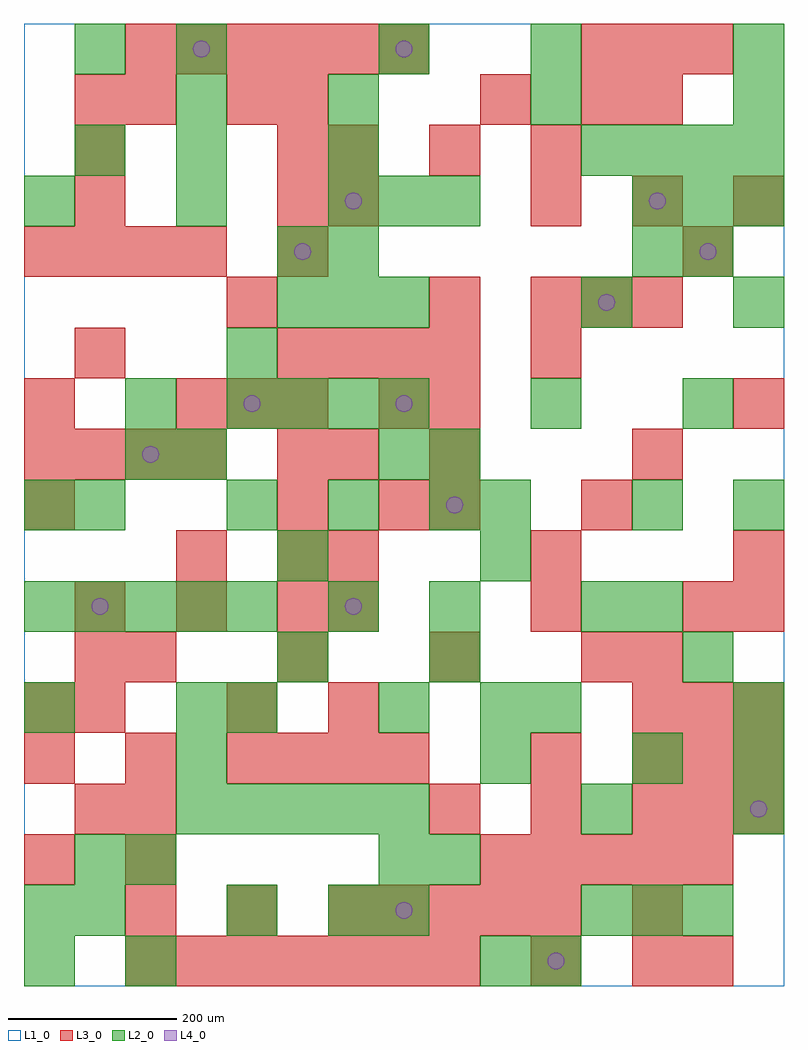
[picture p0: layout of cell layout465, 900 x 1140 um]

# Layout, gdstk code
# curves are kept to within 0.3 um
import gdstk
lib = gdstk.Library(unit=1e-6, precision=1e-09)
def R(c, l, rs):  # rectangles x0, y0, x1, y1
    for r in rs: c.add(gdstk.rectangle(r[:2], r[2:], *l))
def A(c, l, x, y, w, h, nx, ny, dx, dy):  # array of equal rectangles
    R(c, l, [(x+i*dx, y+j*dy, x+i*dx+w, y+j*dy+h) for i in range(nx) for j in range(ny)])
def P(c, l, *ps):  # polygons
    for p in ps: c.add(gdstk.Polygon(p, *l))
L1_0 = (1, 0)
L2_0 = (2, 0)
L3_0 = (3, 0)
L4_0 = (4, 0)

layout465 = lib.new_cell('layout465')
R(layout465, L1_0, [(0,0,900,1140)])
A(layout465, L2_0, 0, 60, 60, 60, 1, 3, 0, 240)
A(layout465, L2_0, 660, 60, 60, 60, 3, 1, 60, 0)
A(layout465, L2_0, 60, 120, 60, 60, 1, 3, 0, 420)
A(layout465, L2_0, 180, 180, 60, 60, 5, 1, 60, 0)
A(layout465, L2_0, 840, 180, 60, 60, 1, 3, 0, 60)
A(layout465, L2_0, 420, 300, 60, 60, 1, 3, 0, 300)
A(layout465, L2_0, 0, 420, 60, 60, 5, 1, 60, 0)
A(layout465, L2_0, 240, 540, 60, 60, 3, 1, 120, 0)
A(layout465, L2_0, 240, 660, 60, 60, 4, 1, 60, 0)
A(layout465, L2_0, 300, 780, 60, 60, 3, 1, 60, 0)
A(layout465, L2_0, 0, 900, 60, 60, 3, 1, 180, 0)
A(layout465, L2_0, 720, 900, 60, 60, 3, 1, 60, 0)
A(layout465, L2_0, 180, 960, 60, 60, 1, 3, 0, 60)
A(layout465, L2_0, 660, 960, 60, 60, 4, 1, 60, 0)
A(layout465, L2_0, 360, 1020, 60, 60, 3, 1, 240, 0)
R(layout465, L2_0, [(0,0,60,60), (120,0,180,60), (540,0,600,60), (600,0,660,60), (60,60,120,120), (240,60,300,120), (360,60,420,120), (420,60,480,120), (120,120,180,180), (420,120,480,180), (480,120,540,180), (660,180,720,240), (180,240,240,300), (540,240,600,300), (720,240,780,300), (180,300,240,360), (240,300,300,360), (540,300,600,360), (600,300,660,360), (300,360,360,420), (480,360,540,420), (780,360,840,420), (360,420,420,480), (480,420,540,480), (660,420,720,480), (720,420,780,480), (300,480,360,540), (540,480,600,540), (540,540,600,600), (720,540,780,600), (840,540,900,600), (120,600,180,660), (180,600,240,660), (480,600,540,660), (120,660,180,720), (600,660,660,720), (780,660,840,720), (240,720,300,780), (660,780,720,840), (840,780,900,840), (300,840,360,900), (360,840,420,900), (720,840,780,900), (780,840,840,900), (480,900,540,960), (360,960,420,1020), (60,1080,120,1140), (420,1080,480,1140), (600,1080,660,1140), (840,1080,900,1140)])
A(layout465, L3_0, 120, 0, 60, 60, 7, 1, 60, 0)
A(layout465, L3_0, 120, 60, 60, 60, 3, 1, 120, 0)
A(layout465, L3_0, 420, 60, 60, 60, 4, 1, 60, 0)
A(layout465, L3_0, 540, 120, 60, 60, 5, 1, 60, 0)
A(layout465, L3_0, 480, 180, 60, 60, 3, 1, 120, 0)
A(layout465, L3_0, 840, 180, 60, 60, 1, 3, 0, 240)
A(layout465, L3_0, 0, 240, 60, 60, 3, 1, 120, 0)
A(layout465, L3_0, 300, 240, 60, 60, 3, 1, 60, 0)
A(layout465, L3_0, 720, 240, 60, 60, 3, 2, 60, 60)
A(layout465, L3_0, 120, 360, 60, 60, 4, 1, 180, 0)
A(layout465, L3_0, 60, 420, 60, 60, 3, 1, 120, 0)
A(layout465, L3_0, 300, 480, 60, 60, 1, 3, 0, 60)
A(layout465, L3_0, 360, 480, 60, 60, 3, 1, 240, 0)
A(layout465, L3_0, 480, 540, 60, 60, 1, 3, 0, 60)
A(layout465, L3_0, 0, 600, 60, 60, 4, 2, 60, 240)
A(layout465, L3_0, 180, 660, 60, 60, 3, 1, 60, 0)
A(layout465, L3_0, 300, 720, 60, 60, 4, 1, 60, 0)
A(layout465, L3_0, 600, 780, 60, 60, 3, 1, 60, 0)
A(layout465, L3_0, 300, 840, 60, 60, 1, 4, 0, 60)
A(layout465, L3_0, 60, 900, 60, 60, 1, 3, 0, 60)
A(layout465, L3_0, 600, 900, 60, 60, 3, 1, 120, 0)
A(layout465, L3_0, 360, 960, 60, 60, 3, 1, 120, 0)
A(layout465, L3_0, 120, 1080, 60, 60, 6, 1, 60, 0)
A(layout465, L3_0, 660, 1080, 60, 60, 3, 1, 60, 0)
R(layout465, L3_0, [(600,0,660,60), (720,0,780,60), (780,0,840,60), (720,60,780,120), (0,120,60,180), (120,120,180,180), (60,180,120,240), (120,180,180,240), (780,180,840,240), (600,240,660,300), (0,300,60,360), (60,300,120,360), (240,300,300,360), (360,300,420,360), (60,360,120,420), (720,360,780,420), (360,420,420,480), (600,420,660,480), (780,420,840,480), (180,480,240,540), (0,540,60,600), (420,540,480,600), (660,540,720,600), (360,600,420,660), (720,600,780,660), (0,660,60,720), (420,660,480,720), (60,720,120,780), (600,720,660,780), (240,780,300,840), (480,780,540,840), (780,840,840,900), (360,900,420,960), (120,1020,180,1080), (240,1020,300,1080), (540,1020,600,1080), (660,1020,720,1080), (720,1020,780,1080)])
P(layout465, L4_0, [(100,450),(99.239,453.827),(97.071,457.071),(93.827,459.239),(90,460),(86.173,459.239),(82.929,457.071),(80.761,453.827),(80,450),(80.761,446.173),(82.929,442.929),(86.173,440.761),(90,440),(93.827,440.761),(97.071,442.929),(99.239,446.173)],
  [(160,630),(159.239,633.827),(157.071,637.071),(153.827,639.239),(150,640),(146.173,639.239),(142.929,637.071),(140.761,633.827),(140,630),(140.761,626.173),(142.929,622.929),(146.173,620.761),(150,620),(153.827,620.761),(157.071,622.929),(159.239,626.173)],
  [(220,1110),(219.239,1113.827),(217.071,1117.071),(213.827,1119.239),(210,1120),(206.173,1119.239),(202.929,1117.071),(200.761,1113.827),(200,1110),(200.761,1106.173),(202.929,1102.929),(206.173,1100.761),(210,1100),(213.827,1100.761),(217.071,1102.929),(219.239,1106.173)],
  [(280,690),(279.239,693.827),(277.071,697.071),(273.827,699.239),(270,700),(266.173,699.239),(262.929,697.071),(260.761,693.827),(260,690),(260.761,686.173),(262.929,682.929),(266.173,680.761),(270,680),(273.827,680.761),(277.071,682.929),(279.239,686.173)],
  [(340,870),(339.239,873.827),(337.071,877.071),(333.827,879.239),(330,880),(326.173,879.239),(322.929,877.071),(320.761,873.827),(320,870),(320.761,866.173),(322.929,862.929),(326.173,860.761),(330,860),(333.827,860.761),(337.071,862.929),(339.239,866.173)],
  [(400,450),(399.239,453.827),(397.071,457.071),(393.827,459.239),(390,460),(386.173,459.239),(382.929,457.071),(380.761,453.827),(380,450),(380.761,446.173),(382.929,442.929),(386.173,440.761),(390,440),(393.827,440.761),(397.071,442.929),(399.239,446.173)],
  [(400,930),(399.239,933.827),(397.071,937.071),(393.827,939.239),(390,940),(386.173,939.239),(382.929,937.071),(380.761,933.827),(380,930),(380.761,926.173),(382.929,922.929),(386.173,920.761),(390,920),(393.827,920.761),(397.071,922.929),(399.239,926.173)],
  [(460,90),(459.239,93.827),(457.071,97.071),(453.827,99.239),(450,100),(446.173,99.239),(442.929,97.071),(440.761,93.827),(440,90),(440.761,86.173),(442.929,82.929),(446.173,80.761),(450,80),(453.827,80.761),(457.071,82.929),(459.239,86.173)],
  [(460,690),(459.239,693.827),(457.071,697.071),(453.827,699.239),(450,700),(446.173,699.239),(442.929,697.071),(440.761,693.827),(440,690),(440.761,686.173),(442.929,682.929),(446.173,680.761),(450,680),(453.827,680.761),(457.071,682.929),(459.239,686.173)],
  [(460,1110),(459.239,1113.827),(457.071,1117.071),(453.827,1119.239),(450,1120),(446.173,1119.239),(442.929,1117.071),(440.761,1113.827),(440,1110),(440.761,1106.173),(442.929,1102.929),(446.173,1100.761),(450,1100),(453.827,1100.761),(457.071,1102.929),(459.239,1106.173)],
  [(520,570),(519.239,573.827),(517.071,577.071),(513.827,579.239),(510,580),(506.173,579.239),(502.929,577.071),(500.761,573.827),(500,570),(500.761,566.173),(502.929,562.929),(506.173,560.761),(510,560),(513.827,560.761),(517.071,562.929),(519.239,566.173)],
  [(640,30),(639.239,33.827),(637.071,37.071),(633.827,39.239),(630,40),(626.173,39.239),(622.929,37.071),(620.761,33.827),(620,30),(620.761,26.173),(622.929,22.929),(626.173,20.761),(630,20),(633.827,20.761),(637.071,22.929),(639.239,26.173)],
  [(700,810),(699.239,813.827),(697.071,817.071),(693.827,819.239),(690,820),(686.173,819.239),(682.929,817.071),(680.761,813.827),(680,810),(680.761,806.173),(682.929,802.929),(686.173,800.761),(690,800),(693.827,800.761),(697.071,802.929),(699.239,806.173)],
  [(760,930),(759.239,933.827),(757.071,937.071),(753.827,939.239),(750,940),(746.173,939.239),(742.929,937.071),(740.761,933.827),(740,930),(740.761,926.173),(742.929,922.929),(746.173,920.761),(750,920),(753.827,920.761),(757.071,922.929),(759.239,926.173)],
  [(820,870),(819.239,873.827),(817.071,877.071),(813.827,879.239),(810,880),(806.173,879.239),(802.929,877.071),(800.761,873.827),(800,870),(800.761,866.173),(802.929,862.929),(806.173,860.761),(810,860),(813.827,860.761),(817.071,862.929),(819.239,866.173)],
  [(880,210),(879.239,213.827),(877.071,217.071),(873.827,219.239),(870,220),(866.173,219.239),(862.929,217.071),(860.761,213.827),(860,210),(860.761,206.173),(862.929,202.929),(866.173,200.761),(870,200),(873.827,200.761),(877.071,202.929),(879.239,206.173)])

lib.write_gds('layout465.gds')
